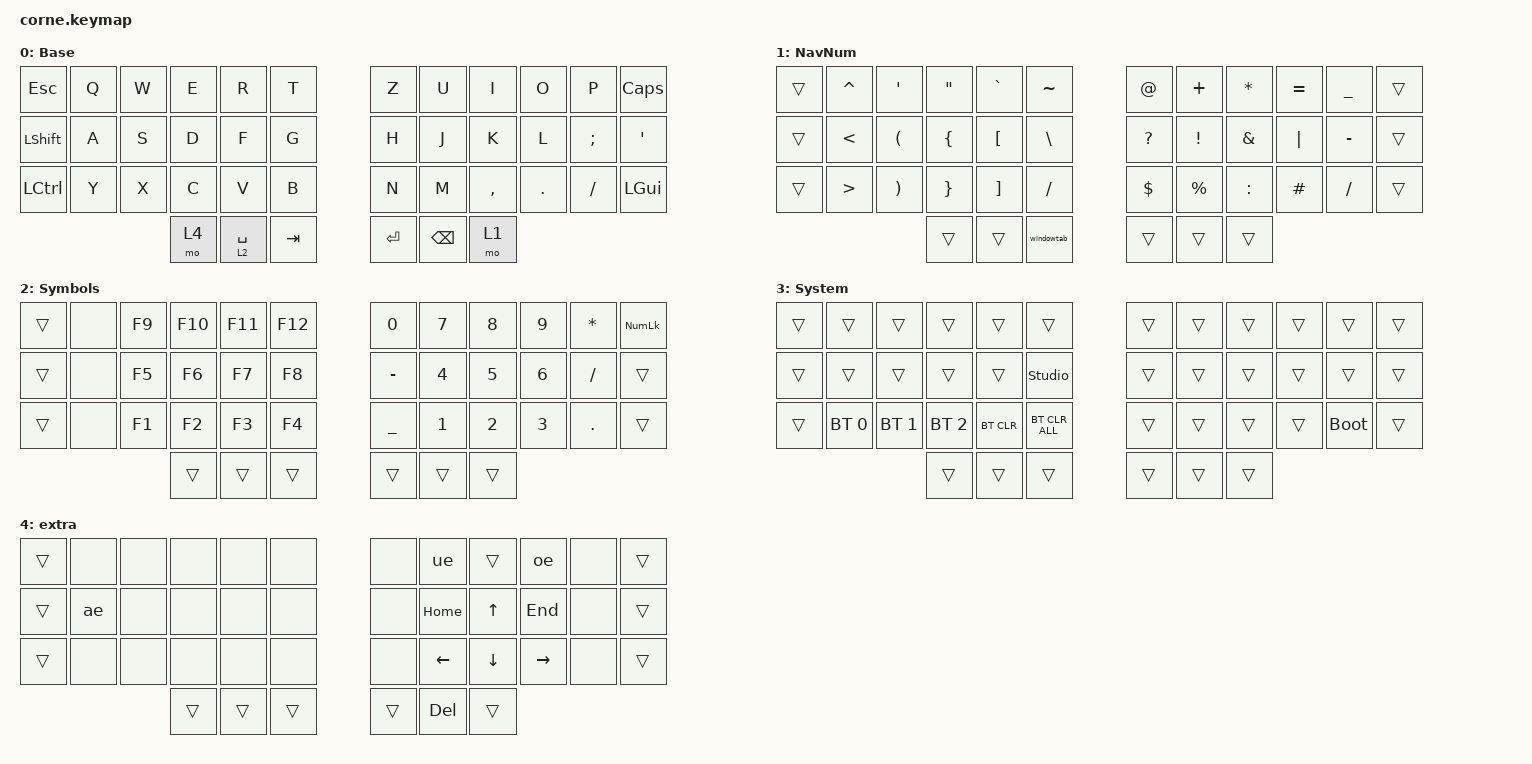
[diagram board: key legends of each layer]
#include <behaviors.dtsi>
#include <dt-bindings/zmk/bt.h>
#include <dt-bindings/zmk/keys.h>

#define DEF 0
#define NAV 1
#define SYM 2
#define ADJ 3
#define EXTRA 4

/ {
    behaviors {
        hm: homerow_mods {
            compatible = "zmk,behavior-hold-tap";
            label = "HOMEROW_MODS";
            #binding-cells = <2>;
            tapping-term-ms = <200>;
            quick_tap_ms = <0>;
            flavor = "tap-preferred";
            bindings = <&kp>, <&kp>;

            quick-tap-ms = <180>;
            global-quick-tap;
        };

        para: para {
            compatible = "zmk,behavior-tap-dance";
            label = "PARA";
            #binding-cells = <0>;
            bindings = <&kp LEFT_PARENTHESIS>, <&kp RIGHT_PARENTHESIS>;
        };

        caps: caps {
            compatible = "zmk,behavior-caps-word";
            label = "CAPS";
            #binding-cells = <0>;
            continue-list = <MINUS BACKSPACE>;
        };

        paraless: paraless {
            compatible = "zmk,behavior-mod-morph";
            label = "PARALESS";
            bindings = <&kp LEFT_PARENTHESIS>, <&kp LESS_THAN>;

            #binding-cells = <0>;
            mods = <(MOD_LSFT)>;
        };

        paragreat: paragreat {
            compatible = "zmk,behavior-mod-morph";
            label = "PARAGREAT";
            bindings = <&kp RIGHT_PARENTHESIS>, <&kp GREATER_THAN>;

            #binding-cells = <0>;
            mods = <(MOD_LSFT)>;
        };
    };

    macros {
        windowtab: browsertab {
            compatible = "zmk,behavior-macro";
            #binding-cells = <0>;
            bindings =
                <&macro_press>,
                <&kp RIGHT_ALT>,
                <&macro_tap>,
                <&kp TAB>,
                <&macro_release>;
        };

        ue: ue {
            compatible = "zmk,behavior-macro";
            #binding-cells = <0>;
            bindings =
                <&macro_press>,
                <&kp RALT>,
                <&macro_tap>,
                <&kp Y>,
                <&macro_release>;

            label = "UE";
        };

        oe: oe {
            compatible = "zmk,behavior-macro";
            #binding-cells = <0>;
            bindings =
                <&macro_press>,
                <&kp RALT>,
                <&macro_tap>,
                <&kp P>,
                <&macro_release>;

            label = "OE";
        };

        ae: ae {
            compatible = "zmk,behavior-macro";
            #binding-cells = <0>;
            bindings =
                <&macro_press>,
                <&kp RALT>,
                <&macro_tap>,
                <&kp Q>,
                <&macro_release>;

            label = "AE";
        };
    };

    combos {
        compatible = "zmk,combos";

        escape {
            bindings = <&kp ESCAPE>;
            key-positions = <13 29>;
        };

        delete {
            bindings = <&kp DELETE>;
            key-positions = <15 21>;
        };

        perc {
            bindings = <&kp PERCENT>;
            key-positions = <5 17>;
        };

        equal {
            bindings = <&kp EQUAL>;
            key-positions = <28 16>;
        };

        dollar {
            bindings = <&kp DOLLAR>;
            key-positions = <4 16>;
        };

        pound {
            bindings = <&kp POUND>;
            key-positions = <3 15>;
        };

        at {
            bindings = <&kp AT>;
            key-positions = <2 14>;
        };

        backslash {
            bindings = <&kp BACKSLASH>;
            key-positions = <26 14>;
        };

        copy {
            bindings = <&kp K_COPY>;
            key-positions = <28 27>;
        };

        paste {
            bindings = <&kp K_PASTE>;
            key-positions = <26 27>;
        };

        star {
            bindings = <&kp STAR>;
            key-positions = <8 20>;
        };

        slash {
            bindings = <&kp SLASH>;
            key-positions = <32 20>;
        };

        plus {
            bindings = <&kp PLUS>;
            key-positions = <7 19>;
        };

        minus {
            bindings = <&kp KP_MINUS>;
            key-positions = <31 19>;
        };

        underscore {
            bindings = <&kp UNDER>;
            key-positions = <30 18>;
        };

        leftbrack {
            bindings = <&kp LEFT_BRACKET>;
            key-positions = <31 32>;
        };

        rightbrack {
            bindings = <&kp RIGHT_BRACKET>;
            key-positions = <33 32>;
        };

        para-less {
            bindings = <&paraless>;
            key-positions = <20 19>;
        };

        para-great {
            bindings = <&paragreat>;
            key-positions = <20 21>;
        };
    };

    //

    keymap {
        compatible = "zmk,keymap";

        DEF {
            display-name = "Base";

            // -----------------------------------------------------------------------------------------
            // |  Q  |  W  |  E  |  R  |  T  |   |  Y  |  U   |  I  |  O  |  P  |
            // |  A  |  S  |  D  |  F  |  G  |   |  H  |  J   |  K  |  L  |  ;  |
            // |  Z  |  X  |  C  |  V  |  B  |   |  N  |  M   |  ,  |  .  |  /  |
            // | GUI | CTRL | SHFT | LWR | SPC |   | ENT | RSE  | BKSP | ALT | ESC |

            bindings = <
&kp ESCAPE        &kp Q  &kp W  &kp E  &kp R        &kp T      &kp Z      &kp U          &kp I      &kp O    &kp P     &kp CAPSLOCK
&kp LSHFT         &kp A  &kp S  &kp D  &kp F        &kp G      &kp H      &kp J          &kp K      &kp L    &kp SEMI  &kp SINGLE_QUOTE
&kp LEFT_CONTROL  &kp Y  &kp X  &kp C  &kp V        &kp B      &kp N      &kp M          &kp COMMA  &kp DOT  &kp FSLH  &kp LEFT_GUI
                                &mo 4  &lt 2 SPACE  &kp TAB    &kp ENTER  &kp BACKSPACE  &mo 1
            >;
        };

        NAV {
            display-name = "NavNum";

            // -----------------------------------------------------------------------------------------
            // |  TAB |  1  |  2  |  3  |  4  |  5  |   |  6  |  7  |  8  |  9  |  0  | BKSP |
            // | BTCLR| BT1 | BT2 | BT3 | BT4 | BT5 |   | LFT | DWN |  UP | RGT |     |      |
            // | SHFT |     |     |     |     |     |   |     |     |     |     |     |      |
            // | GUI | CTRL | SHFT | LWR | SPC |   | ENT | RSE  | BKSP | ALT | ESC |

            bindings = <
&trans  &kp CARET         &kp SINGLE_QUOTE       &kp DOUBLE_QUOTES  &kp GRAVE          &kp TILDE        &kp AT_SIGN   &kp PLUS         &kp ASTERISK   &kp EQUAL  &kp UNDERSCORE  &trans
&trans  &kp LESS_THAN     &kp LEFT_PARENTHESIS   &kp LEFT_BRACE     &kp LEFT_BRACKET   &kp BACKSLASH    &kp QUESTION  &kp EXCLAMATION  &kp AMPERSAND  &kp PIPE   &kp MINUS       &trans
&trans  &kp GREATER_THAN  &kp RIGHT_PARENTHESIS  &kp RIGHT_BRACE    &kp RIGHT_BRACKET  &kp SLASH        &kp DOLLAR    &kp PERCENT      &kp COLON      &kp HASH   &kp SLASH       &trans
                                                 &trans             &trans             &windowtab       &trans        &trans           &trans
            >;
        };

        SYM {
            display-name = "Symbols";

            // -----------------------------------------------------------------------------------------
            // |  TAB |  !  |  @  |  #  |  $  |  %  |   |  ^  |  &  |  *  |  (  |  )  | BKSP |
            // | CTRL |     |     |     |     |     |   |  -  |  =  |  [  |  ]  |  \  |  `   |
            // | SHFT |     |     |     |     |     |   |  _  |  +  |  {  |  }  | "|" |  ~   |
            //                    | GUI |     | SPC |   | ENT |     | ALT |

            bindings = <
&trans  &none  &kp F9  &kp F10  &kp F11  &kp F12    &kp NUMBER_0  &kp NUMBER_7  &kp NUMBER_8  &kp NUMBER_9  &kp ASTERISK  &kp KP_NUMLOCK
&trans  &none  &kp F5  &kp F6   &kp F7   &kp F8     &kp MINUS     &kp NUMBER_4  &kp NUMBER_5  &kp NUMBER_6  &kp FSLH      &trans
&trans  &none  &kp F1  &kp F2   &kp F3   &kp F4     &kp UNDER     &kp NUMBER_1  &kp NUMBER_2  &kp NUMBER_3  &kp PERIOD    &trans
                       &trans   &trans   &trans     &trans        &trans        &trans
            >;
        };

        ADJ {
            display-name = "System";
            bindings = <
&trans  &trans        &trans        &trans        &trans      &trans            &trans  &trans  &trans  &trans  &trans       &trans
&trans  &trans        &trans        &trans        &trans      &studio_unlock    &trans  &trans  &trans  &trans  &trans       &trans
&trans  &bt BT_SEL 0  &bt BT_SEL 1  &bt BT_SEL 2  &bt BT_CLR  &bt BT_CLR_ALL    &trans  &trans  &trans  &trans  &bootloader  &trans
                                    &trans        &trans      &trans            &trans  &trans  &trans
            >;
        };

        EXTRA {
            display-name = "extra";
            bindings = <
&trans  &none  &none  &none   &none   &none     &none   &ue             &trans          &oe              &none  &trans
&trans  &ae    &none  &none   &none   &none     &none   &kp HOME        &kp UP_ARROW    &kp END          &none  &trans
&trans  &none  &none  &none   &none   &none     &none   &kp LEFT_ARROW  &kp DOWN_ARROW  &kp RIGHT_ARROW  &none  &trans
                      &trans  &trans  &trans    &trans  &kp DEL         &trans
            >;
        };
    };

    conditional_layers {
        compatible = "zmk,conditional-layers";

        l3 {
            if-layers = <1 2>;
            then-layer = <3>;
        };
    };
};
